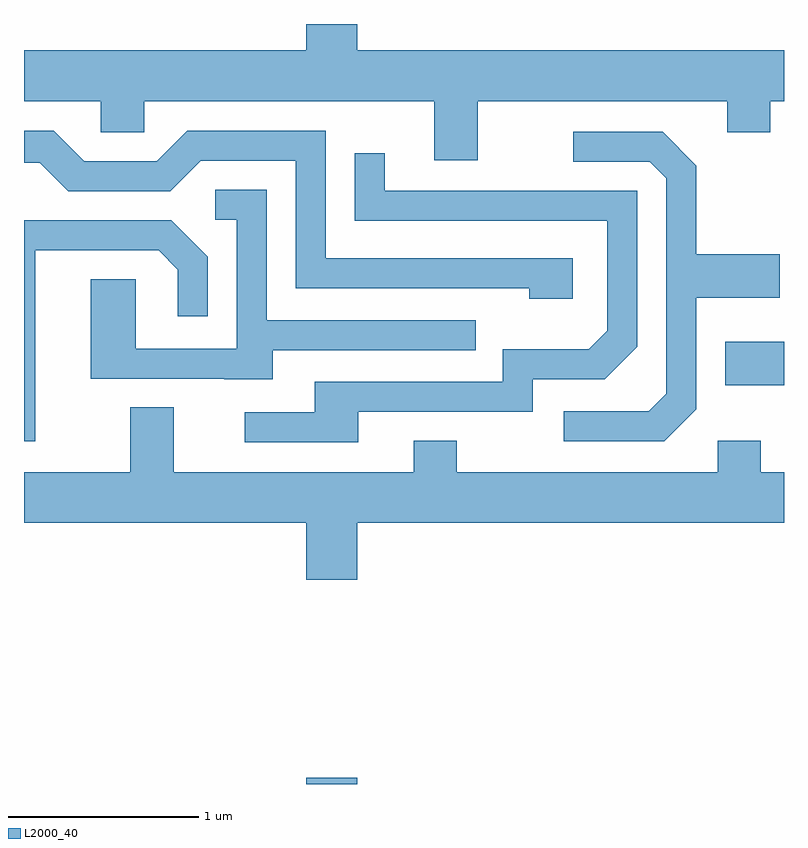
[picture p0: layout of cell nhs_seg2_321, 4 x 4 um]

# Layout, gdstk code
import gdstk
lib = gdstk.Library(unit=1e-6, precision=1e-09)
def R(c, l, rs):  # rectangles x0, y0, x1, y1
    for r in rs: c.add(gdstk.rectangle(r[:2], r[2:], *l))
def P(c, l, *ps):  # polygons
    for p in ps: c.add(gdstk.Polygon(p, *l))
L2000_40 = (2000, 40)

nhs_seg2_321 = lib.new_cell('nhs_seg2_321')
R(nhs_seg2_321, L2000_40, [(195.096,1075.802,195.364,1075.834), (197.301,1077.901,197.611,1078.129)])
P(nhs_seg2_321, L2000_40, [(195.999,1079.396),(197.311,1079.396),(197.311,1079.231),(197.539,1079.231),(197.539,1079.396),(197.611,1079.396),(197.611,1079.664),(195.364,1079.664),(195.364,1079.802),(195.096,1079.802),(195.096,1079.664),(193.611,1079.664),(193.611,1079.396),(194.016,1079.396),(194.016,1079.231),(194.244,1079.231),(194.244,1079.396),(195.771,1079.396),(195.771,1079.086),(195.999,1079.086)],
  [(196.499,1078.569),(195.199,1078.569),(195.199,1079.239),(194.469,1079.239),(194.309,1079.079),(193.927,1079.079),(193.767,1079.239),(193.611,1079.239),(193.611,1079.071),(193.694,1079.071),(193.844,1078.921),(194.382,1078.921),(194.542,1079.081),(195.041,1079.081),(195.041,1078.411),(196.271,1078.411),(196.271,1078.356),(196.499,1078.356)],
  [(197.149,1077.774),(197.149,1078.361),(197.589,1078.361),(197.589,1078.589),(197.149,1078.589),(197.149,1079.057),(196.972,1079.234),(196.503,1079.234),(196.503,1079.076),(196.904,1079.076),(196.991,1078.989),(196.991,1077.857),(196.899,1077.764),(196.453,1077.764),(196.453,1077.606),(196.982,1077.606)],
  [(195.369,1077.761),(196.289,1077.761),(196.289,1077.931),(196.667,1077.931),(196.839,1078.104),(196.839,1078.924),(195.509,1078.924),(195.509,1079.123),(195.351,1079.123),(195.351,1078.766),(196.681,1078.766),(196.681,1078.187),(196.584,1078.089),(196.131,1078.089),(196.131,1077.919),(195.141,1077.919),(195.141,1077.759),(194.773,1077.759),(194.773,1077.601),(195.369,1077.601)],
  [(194.919,1078.086),(195.988,1078.086),(195.988,1078.244),(194.889,1078.244),(194.889,1078.929),(194.618,1078.929),(194.618,1078.771),(194.731,1078.771),(194.731,1078.094),(194.199,1078.094),(194.199,1078.459),(193.961,1078.459),(193.961,1077.936),(194.665,1077.936),(194.665,1077.931),(194.919,1077.931)],
  [(193.669,1078.611),(194.319,1078.611),(194.421,1078.509),(194.421,1078.263),(194.579,1078.263),(194.579,1078.577),(194.387,1078.769),(193.611,1078.769),(193.611,1077.606),(193.669,1077.606)],
  [(195.364,1077.176),(197.611,1077.176),(197.611,1077.444),(197.489,1077.444),(197.489,1077.609),(197.261,1077.609),(197.261,1077.444),(195.889,1077.444),(195.889,1077.609),(195.661,1077.609),(195.661,1077.444),(194.399,1077.444),(194.399,1077.784),(194.171,1077.784),(194.171,1077.444),(193.611,1077.444),(193.611,1077.176),(195.096,1077.176),(195.096,1076.876),(195.364,1076.876)])

lib.write_gds('nhs_seg2_321.gds')
